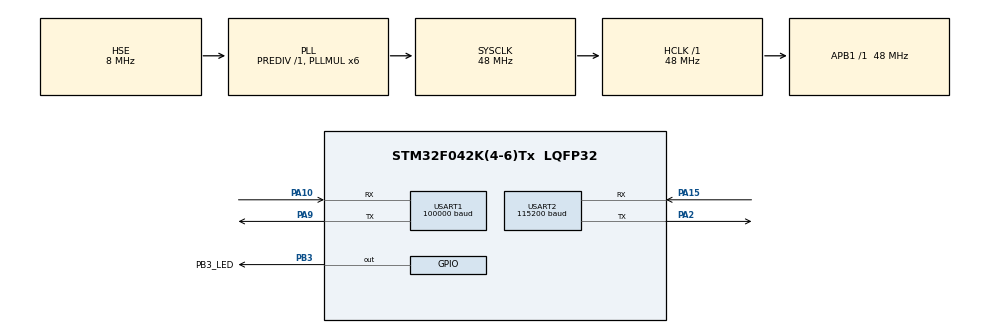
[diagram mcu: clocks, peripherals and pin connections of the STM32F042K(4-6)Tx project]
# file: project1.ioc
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Mcu.Family=STM32F0
Mcu.Name=STM32F042K(4-6)Tx
Mcu.Package=LQFP32
NVIC.USART1_IRQn=true\:0\:0\:false\:false\:true\:true\:true
NVIC.USART2_IRQn=true\:0\:0\:false\:false\:true\:true\:true
PA10.Mode=Asynchronous
PA10.Signal=USART1_RX
PA13.GPIO_Label=SWDIO
PA13.Mode=Serial_Wire
PA13.Signal=SYS_SWDIO
PA14.GPIO_Label=SWCLK
PA14.Mode=Serial_Wire
PA14.Signal=SYS_SWCLK
PA15.GPIO_ModeDefaultPP=GPIO_MODE_AF_PP
PA15.GPIO_PuPd=GPIO_NOPULL
PA15.GPIO_Speed=GPIO_SPEED_FREQ_HIGH
PA15.Mode=Asynchronous
PA15.Signal=USART2_RX
PA2.GPIO_ModeDefaultPP=GPIO_MODE_AF_PP
PA2.GPIO_PuPd=GPIO_NOPULL
PA2.GPIO_Speed=GPIO_SPEED_FREQ_HIGH
PA2.Mode=Asynchronous
PA2.Signal=USART2_TX
PA9.Mode=Asynchronous
PA9.Signal=USART1_TX
PB3.GPIO_Label=PB3_LED
PB3.PinState=GPIO_PIN_SET
PB3.Signal=GPIO_Output
PF0-OSC_IN.GPIO_Label=MCO
PF0-OSC_IN.Mode=HSE-External-Clock-Source
PF0-OSC_IN.Signal=RCC_OSC_IN
ProjectManager.HeapSize=0x200
ProjectManager.StackSize=0x400
ProjectManager.TargetToolchain=STM32CubeIDE
RCC.AHBFreq_Value=48000000
RCC.APB1Freq_Value=48000000
RCC.APB1TimFreq_Value=48000000
RCC.HCLKFreq_Value=48000000
RCC.PLLMUL=RCC_PLL_MUL6
RCC.PLLSourceVirtual=RCC_PLLSOURCE_HSE
RCC.SYSCLKFreq_VALUE=48000000
RCC.SYSCLKSource=RCC_SYSCLKSOURCE_PLLCLK
USART1.BaudRate=100000
USART1.DataInvertParam=ADVFEATURE_DATAINV_ENABLE
USART1.Mode=MODE_TX_RX
USART1.Parity=PARITY_EVEN
USART1.StopBits=STOPBITS_2
USART1.VirtualMode-Asynchronous=VM_ASYNC
USART2.BaudRate=115200
USART2.VirtualMode-Asynchronous=VM_ASYNC
board=NUCLEO-F042K6

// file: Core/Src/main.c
/* USER CODE BEGIN Header */
/**
 ******************************************************************************
 * @file           : main.c
 * @brief          : Main program body
 ******************************************************************************
 * @attention
 *
 * Copyright (c) 2022 STMicroelectronics.
 * All rights reserved.
 *
 * This software is licensed under terms that can be found in the LICENSE file
 * in the root directory of this software component.
 * If no LICENSE file comes with this software, it is provided AS-IS.
 *
 ******************************************************************************
 */
/* USER CODE END Header */
#include "main.h"

/* USER CODE BEGIN PTD */
typedef unsigned char bool;

/* USER CODE END PTD */

/* USER CODE BEGIN PD */
#ifdef __GNUC__
  #define PUTCHAR_PROTOTYPE int __io_putchar(int ch)
#else
  #define PUTCHAR_PROTOTYPE int fputc(int ch, FILE *f)
#endif /* __GNUC__ */

#define BUFFER_SIZE 256
#define NUMBER_OF_SLOT 32

/* USER CODE END PD */

UART_HandleTypeDef huart1;
UART_HandleTypeDef huart2;

void SystemClock_Config(void);
static void MX_GPIO_Init(void);
static void MX_USART2_UART_Init(void);
static void MX_USART1_UART_Init(void);
/* USER CODE BEGIN PFP */
PUTCHAR_PROTOTYPE
{
	HAL_UART_Transmit(&huart2, (uint8_t *)&ch, 1, 0xFFFF);
	return ch;
}
bool SBUS2_get_Slot(uint8_t, uint8_t*, uint8_t*);
/* USER CODE END PFP */

/* USER CODE BEGIN 0 */
uint8_t debug_rxBuf[BUFFER_SIZE];
uint8_t debug_rxData[BUFFER_SIZE];
uint8_t debug_aRxBuf;
uint8_t debug_rx_cnt = 0;
bool debug_rx_flag = false;

uint8_t sbus_rxBuf[BUFFER_SIZE];
uint8_t sbus_rxData[BUFFER_SIZE];
uint8_t sbus_aRxBuf;
uint8_t sbus_rx_cnt = 0;
bool sbus_rx_flag = false;

/* USER CODE END 0 */

int main(void)
{

  /* MCU Configuration--------------------------------------------------------*/

  /* Reset of all peripherals, Initializes the Flash interface and the Systick. */
  HAL_Init();

  /* Configure the system clock */
  SystemClock_Config();

  /* Initialize all configured peripherals */
  MX_GPIO_Init();
  MX_USART2_UART_Init();
  MX_USART1_UART_Init();
  /* USER CODE BEGIN 2 */
  HAL_UART_Receive_IT(&huart1, &sbus_aRxBuf, 1);
  HAL_UART_Receive_IT(&huart2, &debug_aRxBuf, 1);

  uint8_t sbus_data[25];
  uint16_t data[16];
  /* USER CODE END 2 */

  /* Infinite loop */
  /* USER CODE BEGIN WHILE */
  while (1) {
//	if (debug_rx_flag == true) {
//		debug_rx_flag = false;
//		int var = atoi((char*)debug_rxData);
//		printf("[send] %d\n", var);
//		for(uint8_t i = 0; i < 16; i++) data[i] = var;
//		sbus_data[0] = 0xf0;
//		sbus_data[1] =  data[0] & 0x00ff;
//		sbus_data[2] = ((data[0] >> 8) & 0x07) | (data[1] << 3);
//		sbus_data[3] = ((data[1] >> 5) & 0x3f) | (data[2] << 6);
//		sbus_data[4] = ((data[2] >> 2) & 0xff);
//		sbus_data[5] = ((data[2] >> 10) & 0x01) | (data[3] << 1);
//		sbus_data[6] = ((data[3] >> 7) & 0x0f) | (data[4] << 4);
//		sbus_data[7] = ((data[4] >> 4) & 0x7f) | (data[5] << 7);
//		sbus_data[8] = ((data[5] >> 1) & 0xff);
//		sbus_data[9] = ((data[5] >> 9) & 0x03);
////		sbus_data[1] = data[0] >> 3;
////		sbus_data[2] = (data[0] << 5) | (data[1] >> 6);
////		sbus_data[3] = (data[1] << 2) | (data[2] >> 9);
////		sbus_data[4] = data[2] >> 1;
////		sbus_data[5] = (data[2] << 7) | (data[3] >> 4);
////		sbus_data[6] = (data[3] << 4) | (data[4] >> 7);
////		sbus_data[7] = (data[4] << 1) | (data[5] >> 10);
////		sbus_data[8] = data[5] >> 2;
////		sbus_data[9] = (data[5] << 6) | (data[6] >> 5);
//		sbus_data[10] = (data[6] << 3) | (data[7] >> 8);
//		sbus_data[11] = data[7];
//		sbus_data[12] = data[8] >> 3;
//		sbus_data[13] = (data[8] << 5) | (data[9] >> 6);
//		sbus_data[14] = (data[9] << 2) | (data[10] >> 9);
//		sbus_data[15] = data[10] >> 1;
//		sbus_data[16] = (data[10] << 7) | (data[11] >> 4);
//		sbus_data[17] = (data[11] << 4) | (data[12] >> 7);
//		sbus_data[18] = (data[12] << 1) | (data[13] >> 10);
//		sbus_data[19] = data[13] >> 2;
//		sbus_data[20] = (data[13] << 6) | (data[14] >> 5);
//		sbus_data[21] = (data[14] << 3) | (data[15] >> 8);
//		sbus_data[22] = data[15];
//		sbus_data[23] = 0x00;
//		sbus_data[24] = 0x00;
//		HAL_UART_Transmit(&huart1, (uint8_t*)sbus_data, 25, 0xffff);
//	}

	if (debug_rx_flag == true) {
		debug_rx_flag = false;
//		printf("[send] %s", (char*)debug_rxData);
//		char* str[BUFFER_SIZE];
//		sprintf((char*)str, "[from debug] %s", (char*)debug_rxData);
//		HAL_UART_Transmit(&huart1, (uint8_t*)str, strlen((char*)str), 0xffff);

		printf("%s", debug_rxData);
//		HAL_UART_Transmit(&huart1, (uint8_t*)str, strlen((char*)str), 0xffff);
	}
//	if (sbus_rx_flag == true) {
//		sbus_rx_flag = false;
////		printf("%s", (char*)sbus_rxData);
//		printf("sbus to debug\n");
//		char *str = "sbus to sbus\n";
//		HAL_UART_Transmit(&huart1, (uint8_t*)str, strlen((char*)str), 0xffff);
//	}
    /* USER CODE END WHILE */

  }
}

void SystemClock_Config(void)
{
  RCC_OscInitTypeDef RCC_OscInitStruct = {0};
  RCC_ClkInitTypeDef RCC_ClkInitStruct = {0};
  RCC_PeriphCLKInitTypeDef PeriphClkInit = {0};

  /** Initializes the RCC Oscillators according to the specified parameters
  * in the RCC_OscInitTypeDef structure.
  */
  RCC_OscInitStruct.OscillatorType = RCC_OSCILLATORTYPE_HSE;
  RCC_OscInitStruct.HSEState = RCC_HSE_BYPASS;
  RCC_OscInitStruct.PLL.PLLState = RCC_PLL_ON;
  RCC_OscInitStruct.PLL.PLLSource = RCC_PLLSOURCE_HSE;
  RCC_OscInitStruct.PLL.PLLMUL = RCC_PLL_MUL6;
  RCC_OscInitStruct.PLL.PREDIV = RCC_PREDIV_DIV1;
  if (HAL_RCC_OscConfig(&RCC_OscInitStruct) != HAL_OK)
  {
    Error_Handler();
  }
  /** Initializes the CPU, AHB and APB buses clocks
  */
  RCC_ClkInitStruct.ClockType = RCC_CLOCKTYPE_HCLK|RCC_CLOCKTYPE_SYSCLK
                              |RCC_CLOCKTYPE_PCLK1;
  RCC_ClkInitStruct.SYSCLKSource = RCC_SYSCLKSOURCE_PLLCLK;
  RCC_ClkInitStruct.AHBCLKDivider = RCC_SYSCLK_DIV1;
  RCC_ClkInitStruct.APB1CLKDivider = RCC_HCLK_DIV1;

  if (HAL_RCC_ClockConfig(&RCC_ClkInitStruct, FLASH_LATENCY_1) != HAL_OK)
  {
    Error_Handler();
  }
  PeriphClkInit.PeriphClockSelection = RCC_PERIPHCLK_USART1;
  PeriphClkInit.Usart1ClockSelection = RCC_USART1CLKSOURCE_PCLK1;
  if (HAL_RCCEx_PeriphCLKConfig(&PeriphClkInit) != HAL_OK)
  {
    Error_Handler();
  }
}

static void MX_USART1_UART_Init(void)
{

  huart1.Instance = USART1;
  huart1.Init.BaudRate = 100000;
  huart1.Init.WordLength = UART_WORDLENGTH_8B;
  huart1.Init.StopBits = UART_STOPBITS_2;
  huart1.Init.Parity = UART_PARITY_EVEN;
  huart1.Init.Mode = UART_MODE_TX_RX;
  huart1.Init.HwFlowCtl = UART_HWCONTROL_NONE;
  huart1.Init.OverSampling = UART_OVERSAMPLING_16;
  huart1.Init.OneBitSampling = UART_ONE_BIT_SAMPLE_DISABLE;
  huart1.AdvancedInit.AdvFeatureInit = UART_ADVFEATURE_DATAINVERT_INIT;
  huart1.AdvancedInit.DataInvert = UART_ADVFEATURE_DATAINV_ENABLE;
  if (HAL_UART_Init(&huart1) != HAL_OK)
  {
    Error_Handler();
  }

}

static void MX_USART2_UART_Init(void)
{

  huart2.Instance = USART2;
  huart2.Init.BaudRate = 115200;
  huart2.Init.WordLength = UART_WORDLENGTH_8B;
  huart2.Init.StopBits = UART_STOPBITS_1;
  huart2.Init.Parity = UART_PARITY_NONE;
  huart2.Init.Mode = UART_MODE_TX_RX;
  huart2.Init.HwFlowCtl = UART_HWCONTROL_NONE;
  huart2.Init.OverSampling = UART_OVERSAMPLING_16;
  huart2.Init.OneBitSampling = UART_ONE_BIT_SAMPLE_DISABLE;
  huart2.AdvancedInit.AdvFeatureInit = UART_ADVFEATURE_NO_INIT;
  if (HAL_UART_Init(&huart2) != HAL_OK)
  {
    Error_Handler();
  }

}

static void MX_GPIO_Init(void)
{
  GPIO_InitTypeDef GPIO_InitStruct = {0};

  /* GPIO Ports Clock Enable */
  __HAL_RCC_GPIOF_CLK_ENABLE();
  __HAL_RCC_GPIOA_CLK_ENABLE();
  __HAL_RCC_GPIOB_CLK_ENABLE();

  /*Configure GPIO pin Output Level */
  HAL_GPIO_WritePin(PB3_LED_GPIO_Port, PB3_LED_Pin, GPIO_PIN_SET);

  /*Configure GPIO pin : PB3_LED_Pin */
  GPIO_InitStruct.Pin = PB3_LED_Pin;
  GPIO_InitStruct.Mode = GPIO_MODE_OUTPUT_PP;
  GPIO_InitStruct.Pull = GPIO_NOPULL;
  GPIO_InitStruct.Speed = GPIO_SPEED_FREQ_LOW;
  HAL_GPIO_Init(PB3_LED_GPIO_Port, &GPIO_InitStruct);

}

/* USER CODE BEGIN 4 */
void HAL_UART_RxCpltCallback(UART_HandleTypeDef *huart) {
	if (huart == &huart1) {
		sbus_rxBuf[sbus_rx_cnt++] = sbus_aRxBuf;
		if (sbus_aRxBuf == '\n') {
			sbus_rx_flag = true;
			memcpy(sbus_rxData, sbus_rxBuf, BUFFER_SIZE);
			memset(sbus_rxBuf, 0, BUFFER_SIZE);
			sbus_rx_cnt = 0;
		}
		HAL_UART_Receive_IT(huart, &sbus_aRxBuf, 1);
	} else if (huart == &huart2) {
		debug_rxBuf[debug_rx_cnt++] = debug_aRxBuf;
		if (debug_aRxBuf == '\n') {
			debug_rx_flag = true;
			memcpy(debug_rxData, debug_rxBuf, BUFFER_SIZE);
			memset(debug_rxBuf, 0, BUFFER_SIZE);
			debug_rx_cnt = 0;
		}
		HAL_UART_Receive_IT(huart, &debug_aRxBuf, 1);
	}
}

/* USER CODE END 4 */

void Error_Handler(void)
{
	__disable_irq();
	while (1) {
	}
}
